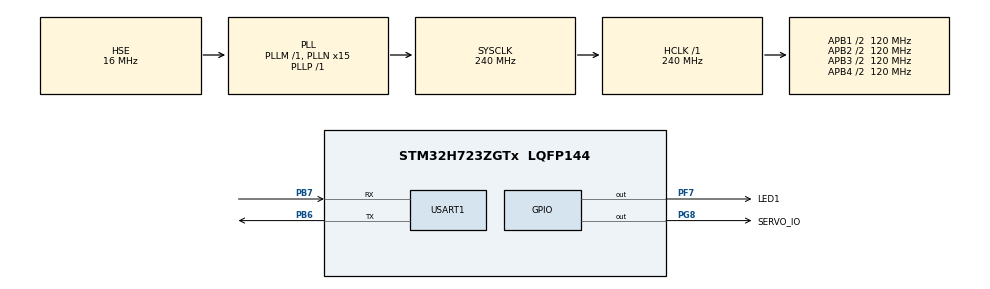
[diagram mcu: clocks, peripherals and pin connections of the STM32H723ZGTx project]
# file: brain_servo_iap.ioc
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CORTEX_M7.default_mode_Activation=1
Dma.Request0=USART1_RX
Dma.Request1=USART1_TX
Dma.USART1_RX.0.Direction=DMA_PERIPH_TO_MEMORY
Dma.USART1_RX.0.EventEnable=DISABLE
Dma.USART1_RX.0.FIFOMode=DMA_FIFOMODE_DISABLE
Dma.USART1_RX.0.Instance=DMA1_Stream0
Dma.USART1_RX.0.MemDataAlignment=DMA_MDATAALIGN_BYTE
Dma.USART1_RX.0.MemInc=DMA_MINC_ENABLE
Dma.USART1_RX.0.Mode=DMA_NORMAL
Dma.USART1_RX.0.PeriphDataAlignment=DMA_PDATAALIGN_BYTE
Dma.USART1_RX.0.PeriphInc=DMA_PINC_DISABLE
Dma.USART1_RX.0.Polarity=HAL_DMAMUX_REQ_GEN_RISING
Dma.USART1_RX.0.Priority=DMA_PRIORITY_MEDIUM
Dma.USART1_RX.0.RequestNumber=1
Dma.USART1_RX.0.SignalID=NONE
Dma.USART1_RX.0.SyncEnable=DISABLE
Dma.USART1_RX.0.SyncPolarity=HAL_DMAMUX_SYNC_NO_EVENT
Dma.USART1_RX.0.SyncRequestNumber=1
Dma.USART1_RX.0.SyncSignalID=NONE
Dma.USART1_TX.1.Direction=DMA_MEMORY_TO_PERIPH
Dma.USART1_TX.1.EventEnable=DISABLE
Dma.USART1_TX.1.FIFOMode=DMA_FIFOMODE_DISABLE
Dma.USART1_TX.1.Instance=DMA1_Stream1
Dma.USART1_TX.1.MemDataAlignment=DMA_MDATAALIGN_BYTE
Dma.USART1_TX.1.MemInc=DMA_MINC_ENABLE
Dma.USART1_TX.1.Mode=DMA_NORMAL
Dma.USART1_TX.1.PeriphDataAlignment=DMA_PDATAALIGN_BYTE
Dma.USART1_TX.1.PeriphInc=DMA_PINC_DISABLE
Dma.USART1_TX.1.Polarity=HAL_DMAMUX_REQ_GEN_RISING
Dma.USART1_TX.1.Priority=DMA_PRIORITY_LOW
Dma.USART1_TX.1.RequestNumber=1
Dma.USART1_TX.1.SignalID=NONE
Dma.USART1_TX.1.SyncEnable=DISABLE
Dma.USART1_TX.1.SyncPolarity=HAL_DMAMUX_SYNC_NO_EVENT
Dma.USART1_TX.1.SyncRequestNumber=1
Dma.USART1_TX.1.SyncSignalID=NONE
IWDG1.Prescaler=IWDG_PRESCALER_32
Mcu.Family=STM32H7
Mcu.Name=STM32H723ZGTx
Mcu.Package=LQFP144
NVIC.DMA1_Stream0_IRQn=true\:0\:0\:false\:false\:true\:false\:true\:true
NVIC.DMA1_Stream1_IRQn=true\:0\:0\:false\:false\:true\:false\:true\:true
NVIC.PriorityGroup=NVIC_PRIORITYGROUP_4
NVIC.USART1_IRQn=true\:0\:0\:false\:false\:true\:true\:true\:true
PB6.Mode=Asynchronous
PB6.Signal=USART1_TX
PB7.Mode=Asynchronous
PB7.Signal=USART1_RX
PF7.GPIO_Label=LED1
PF7.Signal=GPIO_Output
PG8.GPIO_Label=SERVO_IO
PG8.PinState=GPIO_PIN_RESET
PG8.Signal=GPIO_Output
PH0-OSC_IN.Mode=HSE-External-Oscillator
PH0-OSC_IN.Signal=RCC_OSC_IN
PH1-OSC_OUT.Mode=HSE-External-Oscillator
PH1-OSC_OUT.Signal=RCC_OSC_OUT
ProjectManager.HeapSize=0x1000
ProjectManager.StackSize=0x400
ProjectManager.TargetToolchain=STM32CubeIDE
RCC.ADCFreq_Value=96000000
RCC.APB1Freq_Value=120000000
RCC.APB2Freq_Value=120000000
RCC.APB3Freq_Value=120000000
RCC.APB4Freq_Value=120000000
RCC.CortexFreq_Value=240000000
RCC.D1PPRE=RCC_APB3_DIV2
RCC.D2PPRE1=RCC_APB1_DIV2
RCC.D2PPRE2=RCC_APB2_DIV2
RCC.D3PPRE=RCC_APB4_DIV2
RCC.DIVM1=1
RCC.DIVM2=1
RCC.DIVM3=1
RCC.DIVN1=15
RCC.DIVN2=12
RCC.DIVN3=12
RCC.DIVP1=1
RCC.HCLKFreq_Value=240000000
RCC.HSE_VALUE=16000000
RCC.PLLSourceVirtual=RCC_PLLSOURCE_HSE
RCC.SYSCLKFreq_VALUE=240000000
RCC.SYSCLKSource=RCC_SYSCLKSOURCE_PLLCLK
RCC.USBFreq_Value=120000000
USART1.VirtualMode-Asynchronous=VM_ASYNC
VP_IWDG1_VS_IWDG.Mode=IWDG_Activate
VP_MEMORYMAP_VS_MEMORYMAP.Mode=CurAppReg
VP_RTC_VS_RTC_Activate.Mode=RTC_Enabled
board=custom

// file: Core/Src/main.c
/* USER CODE BEGIN Header */
/**
  ******************************************************************************
  * @file           : main.c
  * @brief          : Main program body
  ******************************************************************************
  * @attention
  *
  * Copyright (c) 2026 STMicroelectronics.
  * All rights reserved.
  *
  * This software is licensed under terms that can be found in the LICENSE file
  * in the root directory of this software component.
  * If no LICENSE file comes with this software, it is provided AS-IS.
  *
  ******************************************************************************
  */
/* USER CODE END Header */
#include "main.h"
#include "dma.h"
#include "iwdg.h"
#include "rtc.h"
#include "usart.h"
#include "gpio.h"

/* USER CODE BEGIN Includes */
#include <string.h>
#include <stdio.h>
#include "menu.h"
/* USER CODE END Includes */

/* USER CODE BEGIN PV */

uint8_t boot_in_menu_flag = 0;

extern pFunction Jump_To_Application;
extern uint32_t JumpAddress;

/* USER CODE END PV */

void SystemClock_Config(void);
static void MPU_Config(void);
/* USER CODE BEGIN PFP */
void Jump_To_App(void);
/* USER CODE END PFP */

int main(void)
{

  /* MPU Configuration--------------------------------------------------------*/
  MPU_Config();

  /* MCU Configuration--------------------------------------------------------*/

  /* Reset of all peripherals, Initializes the Flash interface and the Systick. */
  HAL_Init();

  /* Configure the system clock */
  SystemClock_Config();

  /* Initialize all configured peripherals */
  MX_GPIO_Init();
  MX_DMA_Init();
  MX_USART1_UART_Init();
  MX_RTC_Init();
  MX_IWDG1_Init();
  /* USER CODE BEGIN 2 */
  __HAL_DBGMCU_FREEZE_IWDG1(); // 调试时冻结看门狗

	uint8_t enter_iap = 0;
	uint32_t life_count = 0;

	// 1. 软件触发判定：检查 RTC 备份寄存器（由 APP 重启触发）
	// 注意：需要确保前面已经调用了 MX_RTC_Init(); 否则这里可能读不到
	HAL_PWR_EnableBkUpAccess();
	if (HAL_RTCEx_BKUPRead(&hrtc, RTC_BKP_DR0) == 0x5A5A) {
		HAL_RTCEx_BKUPWrite(&hrtc, RTC_BKP_DR0, 0x0000); // 擦除标志
		enter_iap = 1;
	}

//	while(1){ // 喂狗与生命状态测试
//		HAL_IWDG_Refresh(&hiwdg1); // 必须在等待循环中喂狗
//		life_count++;
//		printf("\r\n[BOOT] Test life %ld\r\n", life_count);
//	    HAL_GPIO_TogglePin(LED1_GPIO_Port, LED1_Pin);
//	    HAL_GPIO_TogglePin(LED2_GPIO_Port, LED2_Pin);
//		HAL_Delay(500);
//	}

	HAL_IWDG_Refresh(&hiwdg1); // 喂狗

	// 2. UART 触发判定：PC 串口拦截（替换原来的按键逻辑）
	if (enter_iap == 0) {
		printf("\r\n[BOOT] Press 'U' within 3 seconds to force enter IAP mode...\r\n");

		uint32_t tickstart = HAL_GetTick();
		uint8_t rx_data = 0;

		// 开启 3 秒 (3000ms) 的等待窗口
		while ((HAL_GetTick() - tickstart) < 3000) {

			// 极其重要：等待期间必须持续喂狗，否则单片机会在此处不断复位！
			HAL_IWDG_Refresh(&hiwdg1);

			// 尝试通过轮询方式接收 1 个字节，超时时间设为 10ms，保证循环能快速运转去喂狗
			if (HAL_UART_Receive(&huart1, &rx_data, 1, 10) == HAL_OK) {
				// 如果收到了特定的标识符（例如大写字母 'U'）
				if (rx_data == 'U') {
					printf("\r\n[BOOT] Intercepted! Entering IAP mode...\r\n");
					enter_iap = 1;
					break; // 拦截成功，跳出等待循环
				}
			}
		}
	}

	// 3. 进入 IAP 模式
	if (enter_iap) {
		FLASH_If_Init(); // 解锁 Flash 权限
		Main_Menu();     // 进入 Ymodem 菜单循环
	}
	// 4. 尝试跳转到 APP
	else {
		// 直接引入你的 APP 起始地址宏 (在 flash_if.h 里定义的那个)
		// 如果没 include，就直接写死 uint32_t app_addr = 0x08020000;
		uint32_t app_addr = APPLICATION_ADDRESS;

		// 工业标准做法：检查 APP 地址的第一个字（栈顶指针）是否指向 RAM 区域
		// STM32H7 的 RAM 通常在 0x20000000 (DTCM) 或 0x24000000 (AXI SRAM)
		uint32_t app_stack_ptr = *(__IO uint32_t*)app_addr;

		if ((app_stack_ptr & 0x2FF00000) == 0x20000000 ||
			(app_stack_ptr & 0x2FF00000) == 0x24000000)
		{
			// ================= 新增：打印当前版本号 =================
			// 根据之前的定义，SN 码存放在 0x08020000
			char* current_sn = (char*)0x08020000;
			// 检查第一个字节是不是 0xFF (如果是全0xFF说明没写过SN) 或空字符
			if ((uint8_t)current_sn[0] != 0xFF && current_sn[0] != '\0') {
				printf("[BOOT] Current APP Version: %s\r\n", current_sn);
			} else {
				printf("[BOOT] Current APP Version: [Unknown/Empty]\r\n");
			}
			// ========================================================

			printf("[BOOT] Legal APP found (Valid SP: 0x%08X), jumping...\r\n", app_stack_ptr);
			HAL_Delay(50); // 稍微延时一下让串口把字打印完
			Jump_To_App(); // 执行跳转
		}
		else {
			// 如果读出来的栈顶指针是 0xFFFFFFFF (空Flash)，或者其他乱七八糟的数字，说明没程序
			printf("[BOOT] Error: No legal APP found at 0x%08X!\r\n", app_addr);
			printf("[BOOT] Read Stack Pointer: 0x%08X\r\n", app_stack_ptr);
			HAL_Delay(2000);

			// 如果没有 APP，强制进入 IAP 菜单以便用户下载固件
			FLASH_If_Init();
			Main_Menu();
		}
	}
  /* USER CODE END 2 */

  /* Infinite loop */
  while (1)
  {

    /* USER CODE BEGIN 3 */
		printf("run in boot while(1)\r\n");
    printf("there is no legal APP\r\n");
    HAL_GPIO_TogglePin(LED1_GPIO_Port, LED1_Pin);
    HAL_GPIO_TogglePin(LED2_GPIO_Port, LED2_Pin);
	  HAL_Delay(2000);
  }
  /* USER CODE END 3 */
}

void SystemClock_Config(void)
{
  RCC_OscInitTypeDef RCC_OscInitStruct = {0};
  RCC_ClkInitTypeDef RCC_ClkInitStruct = {0};

  /** Supply configuration update enable
  */
  HAL_PWREx_ConfigSupply(PWR_LDO_SUPPLY);

  /** Configure the main internal regulator output voltage
  */
  __HAL_PWR_VOLTAGESCALING_CONFIG(PWR_REGULATOR_VOLTAGE_SCALE0);

  while(!__HAL_PWR_GET_FLAG(PWR_FLAG_VOSRDY)) {}

  /** Initializes the RCC Oscillators according to the specified parameters
  * in the RCC_OscInitTypeDef structure.
  */
  RCC_OscInitStruct.OscillatorType = RCC_OSCILLATORTYPE_LSI|RCC_OSCILLATORTYPE_HSE;
  RCC_OscInitStruct.HSEState = RCC_HSE_ON;
  RCC_OscInitStruct.LSIState = RCC_LSI_ON;
  RCC_OscInitStruct.PLL.PLLState = RCC_PLL_ON;
  RCC_OscInitStruct.PLL.PLLSource = RCC_PLLSOURCE_HSE;
  RCC_OscInitStruct.PLL.PLLM = 1;
  RCC_OscInitStruct.PLL.PLLN = 15;
  RCC_OscInitStruct.PLL.PLLP = 1;
  RCC_OscInitStruct.PLL.PLLQ = 2;
  RCC_OscInitStruct.PLL.PLLR = 2;
  RCC_OscInitStruct.PLL.PLLRGE = RCC_PLL1VCIRANGE_3;
  RCC_OscInitStruct.PLL.PLLVCOSEL = RCC_PLL1VCOWIDE;
  RCC_OscInitStruct.PLL.PLLFRACN = 0;
  if (HAL_RCC_OscConfig(&RCC_OscInitStruct) != HAL_OK)
  {
    Error_Handler();
  }

  /** Initializes the CPU, AHB and APB buses clocks
  */
  RCC_ClkInitStruct.ClockType = RCC_CLOCKTYPE_HCLK|RCC_CLOCKTYPE_SYSCLK
                              |RCC_CLOCKTYPE_PCLK1|RCC_CLOCKTYPE_PCLK2
                              |RCC_CLOCKTYPE_D3PCLK1|RCC_CLOCKTYPE_D1PCLK1;
  RCC_ClkInitStruct.SYSCLKSource = RCC_SYSCLKSOURCE_PLLCLK;
  RCC_ClkInitStruct.SYSCLKDivider = RCC_SYSCLK_DIV1;
  RCC_ClkInitStruct.AHBCLKDivider = RCC_HCLK_DIV1;
  RCC_ClkInitStruct.APB3CLKDivider = RCC_APB3_DIV2;
  RCC_ClkInitStruct.APB1CLKDivider = RCC_APB1_DIV2;
  RCC_ClkInitStruct.APB2CLKDivider = RCC_APB2_DIV2;
  RCC_ClkInitStruct.APB4CLKDivider = RCC_APB4_DIV2;

  if (HAL_RCC_ClockConfig(&RCC_ClkInitStruct, FLASH_LATENCY_3) != HAL_OK)
  {
    Error_Handler();
  }
}

/* USER CODE BEGIN 4 */

void Jump_To_App(void)
{
    uint32_t app_addr = APPLICATION_ADDRESS;
    uint32_t app_stack_ptr = *(__IO uint32_t*)app_addr;

    if (((app_stack_ptr & 0x2FF00000) == 0x20000000) ||
        ((app_stack_ptr & 0x2FF00000) == 0x24000000))
    {
        // 1. 关闭全局中断
        __disable_irq();

        printf("1");

        // 临走前狠狠喂一次狗
        extern IWDG_HandleTypeDef hiwdg1;
        HAL_IWDG_Refresh(&hiwdg1);

        // 如果你的 Bootloader 用到了 ADC DMA，必须在此强制停止！
		// extern ADC_HandleTypeDef hadc1;
		// HAL_ADC_Stop_DMA(&hadc1);

		// 强制停止串口的所有收发和 DMA
		extern UART_HandleTypeDef huart1; // 根据你代码里的名字，可能是 huart1
		HAL_UART_Abort(&huart1);

        printf("2");
		// 强制插入同步屏障，确保前面的关闭动作在硬件层面上彻底完成
		// 如果有隐藏的 BusFault，也会在这里提前引爆，而不会死在 Cache 函数里
		__DSB();
		__ISB();

        // 2. 【先】清理并关闭 Cache
        // 此时总线和内存时钟都在正常运行，写回脏数据绝对安全
        SCB_DisableICache();
//        SCB_CleanInvalidateDCache();
//        SCB_DisableDCache();
        SCB_InvalidateDCache();
        SCB->CCR &= ~(uint32_t)SCB_CCR_DC_Msk; // 强制从硬件位关闭 D-Cache

        printf("3");
		__DSB();
		__ISB();

        // 3. 【再】关闭 MPU
        HAL_MPU_Disable();

        // 4. 【最后】反初始化外设
        // 现在 Cache 已经关了，怎么关外设时钟都不会触发总线错误了
        // 下面这个外设去初始化，可能导致某些电源使能被初始化，导致电源状态波动，从而死机，所以注释掉
        // HAL_DeInit();
        //printf("4\n");
        // ==========================================

        // 5. 禁用 SysTick
        SysTick->CTRL = 0;
        SysTick->LOAD = 0;
        SysTick->VAL  = 0;

        // 6. 清理残留的中断标志
        for (int i = 0; i < 8; i++) {
            NVIC->ICER[i] = 0xFFFFFFFF;
            NVIC->ICPR[i] = 0xFFFFFFFF;
        }
        //printf("5\n");

        // 7. 执行跳转
        uint32_t JumpAddress = *(__IO uint32_t*) (app_addr + 4);
        pFunction JumpToApplication = (pFunction) JumpAddress;

        // 设置主堆栈指针
        __set_MSP(app_stack_ptr);

        // 冲！
        //printf("\r\n[BOOT] All cleared, JUMPING NOW!\r\n");

        JumpToApplication();
    }
    else
    {
        printf("Error: Stack Pointer not valid!\r\n");
    }
}

/* USER CODE END 4 */

 /* MPU Configuration */

void MPU_Config(void)
{
  MPU_Region_InitTypeDef MPU_InitStruct = {0};

  /* Disables the MPU */
  HAL_MPU_Disable();

  /** Initializes and configures the Region and the memory to be protected
  */
  MPU_InitStruct.Enable = MPU_REGION_ENABLE;
  MPU_InitStruct.Number = MPU_REGION_NUMBER0;
  MPU_InitStruct.BaseAddress = 0x0;
  MPU_InitStruct.Size = MPU_REGION_SIZE_4GB;
  MPU_InitStruct.SubRegionDisable = 0x87;
  MPU_InitStruct.TypeExtField = MPU_TEX_LEVEL0;
  MPU_InitStruct.AccessPermission = MPU_REGION_NO_ACCESS;
  MPU_InitStruct.DisableExec = MPU_INSTRUCTION_ACCESS_DISABLE;
  MPU_InitStruct.IsShareable = MPU_ACCESS_SHAREABLE;
  MPU_InitStruct.IsCacheable = MPU_ACCESS_NOT_CACHEABLE;
  MPU_InitStruct.IsBufferable = MPU_ACCESS_NOT_BUFFERABLE;

  HAL_MPU_ConfigRegion(&MPU_InitStruct);
  /* Enables the MPU */
  HAL_MPU_Enable(MPU_PRIVILEGED_DEFAULT);

}

void Error_Handler(void)
{
  /* USER CODE BEGIN Error_Handler_Debug */
	// 打印遗言，这样你就知道是不是时钟配置失败导致的重启了！
	  printf("\r\n[BOOT] Crashed in Error_Handler!\r\n");
  /* User can add his own implementation to report the HAL error return state */
  __disable_irq();
  while (1)
  {
  }
  /* USER CODE END Error_Handler_Debug */
}
